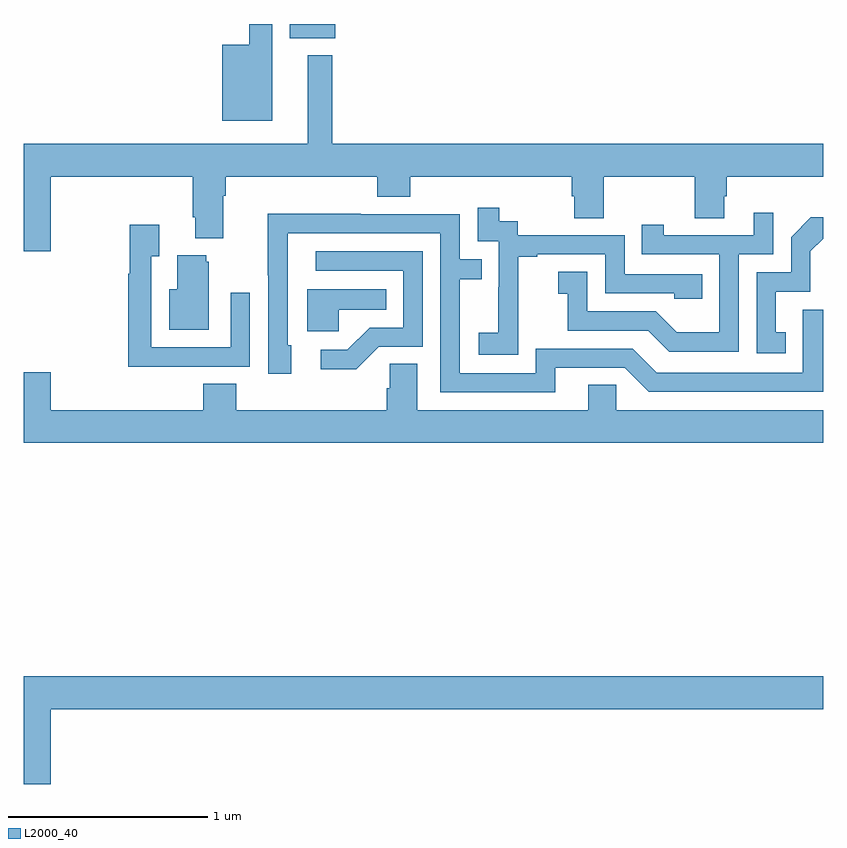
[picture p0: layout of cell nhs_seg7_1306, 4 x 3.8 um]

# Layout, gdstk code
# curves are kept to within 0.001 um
import gdstk
lib = gdstk.Library(unit=1e-6, precision=1e-09)
def R(c, l, rs):  # rectangles x0, y0, x1, y1
    for r in rs: c.add(gdstk.rectangle(r[:2], r[2:], *l))
def P(c, l, *ps):  # polygons
    for p in ps: c.add(gdstk.Polygon(p, *l))
L2000_40 = (2000, 40)

nhs_seg7_1306 = lib.new_cell('nhs_seg7_1306')
R(nhs_seg7_1306, L2000_40, [(202.331,1047.929,202.558,1048)])
P(nhs_seg7_1306, L2000_40, [(202.243,1048),(202.129,1048),(202.129,1047.895),(201.992,1047.895),(201.992,1047.515),(202.243,1047.515)],
  [(201.136,1047.236),(201.845,1047.236),(201.845,1047.034),(201.857,1047.034),(201.857,1046.927),(201.997,1046.927),(201.997,1047.14),(202.01,1047.14),(202.01,1047.236),(202.769,1047.236),(202.769,1047.137),(202.934,1047.137),(202.934,1047.236),(203.741,1047.236),(203.741,1047.138),(203.753,1047.138),(203.753,1047.028),(203.901,1047.028),(203.901,1047.236),(204.358,1047.236),(204.358,1047.028),(204.505,1047.028),(204.505,1047.138),(204.518,1047.138),(204.518,1047.236),(205,1047.236),(205,1047.4),(202.543,1047.4),(202.543,1047.844),(202.421,1047.844),(202.421,1047.4),(201,1047.4),(201,1046.862),(201.136,1046.862)],
  [(203.475,1046.551),(203.474,1046.551),(203.474,1046.835),(203.569,1046.835),(203.569,1046.847),(203.91,1046.847),(203.91,1046.652),(204.255,1046.652),(204.255,1046.625),(204.395,1046.625),(204.395,1046.748),(204.006,1046.748),(204.006,1046.943),(203.472,1046.943),(203.472,1047.012),(203.38,1047.012),(203.38,1047.082),(203.271,1047.082),(203.271,1046.913),(203.376,1046.913),(203.376,1046.684),(203.375,1046.684),(203.375,1046.455),(203.277,1046.455),(203.277,1046.345),(203.475,1046.345)],
  [(204.576,1046.847),(204.75,1046.847),(204.75,1047.055),(204.653,1047.055),(204.653,1046.943),(204.202,1046.943),(204.202,1046.995),(204.091,1046.995),(204.091,1046.847),(204.48,1046.847),(204.48,1046.458),(204.266,1046.458),(204.162,1046.562),(203.82,1046.562),(203.82,1046.761),(203.673,1046.761),(203.673,1046.651),(203.722,1046.651),(203.722,1046.466),(204.125,1046.466),(204.23,1046.361),(204.576,1046.361)],
  [(203.659,1046.28),(204.006,1046.28),(204.126,1046.16),(205,1046.16),(205,1046.571),(204.897,1046.571),(204.897,1046.256),(204.168,1046.256),(204.048,1046.376),(203.562,1046.376),(203.562,1046.253),(203.181,1046.253),(203.181,1046.722),(203.291,1046.722),(203.291,1046.823),(203.181,1046.823),(203.181,1047.048),(202.685,1047.048),(202.685,1047.05),(202.222,1047.05),(202.222,1046.743),(202.224,1046.743),(202.224,1046.25),(202.339,1046.25),(202.339,1046.394),(202.32,1046.394),(202.321,1046.952),(203.085,1046.952),(203.085,1046.157),(203.659,1046.157)],
  [(204.812,1046.457),(204.763,1046.457),(204.763,1046.661),(204.936,1046.661),(204.936,1046.862),(205,1046.926),(205,1047.032),(204.938,1047.032),(204.84,1046.934),(204.84,1046.757),(204.666,1046.757),(204.666,1046.352),(204.812,1046.352)],
  [(201.815,1046.286),(202.131,1046.286),(202.131,1046.656),(202.035,1046.656),(202.035,1046.382),(201.639,1046.382),(201.639,1046.839),(201.679,1046.839),(201.679,1046.995),(201.531,1046.995),(201.531,1046.75),(201.523,1046.75),(201.523,1046.285),(201.815,1046.285)],
  [(202.776,1046.385),(202.995,1046.385),(202.995,1046.862),(202.461,1046.862),(202.461,1046.766),(202.899,1046.766),(202.899,1046.481),(202.73,1046.481),(202.619,1046.37),(202.485,1046.37),(202.485,1046.273),(202.663,1046.273)],
  [(201.925,1046.811),(201.914,1046.811),(201.914,1046.842),(201.767,1046.842),(201.767,1046.674),(201.728,1046.674),(201.728,1046.471),(201.925,1046.471)],
  [(202.575,1046.57),(202.814,1046.57),(202.814,1046.674),(202.418,1046.674),(202.418,1046.462),(202.575,1046.462)],
  [(205,1046.068),(203.964,1046.068),(203.964,1046.195),(203.825,1046.195),(203.825,1046.068),(202.969,1046.068),(202.969,1046.3),(202.83,1046.3),(202.83,1046.177),(202.817,1046.177),(202.817,1046.068),(202.064,1046.068),(202.064,1046.201),(201.899,1046.201),(201.899,1046.068),(201.136,1046.068),(201.136,1046.257),(201,1046.257),(201,1045.904),(205,1045.904)],
  [(201.136,1044.572),(205,1044.572),(205,1044.736),(201,1044.736),(201,1044.198),(201.136,1044.198)])

lib.write_gds('nhs_seg7_1306.gds')
